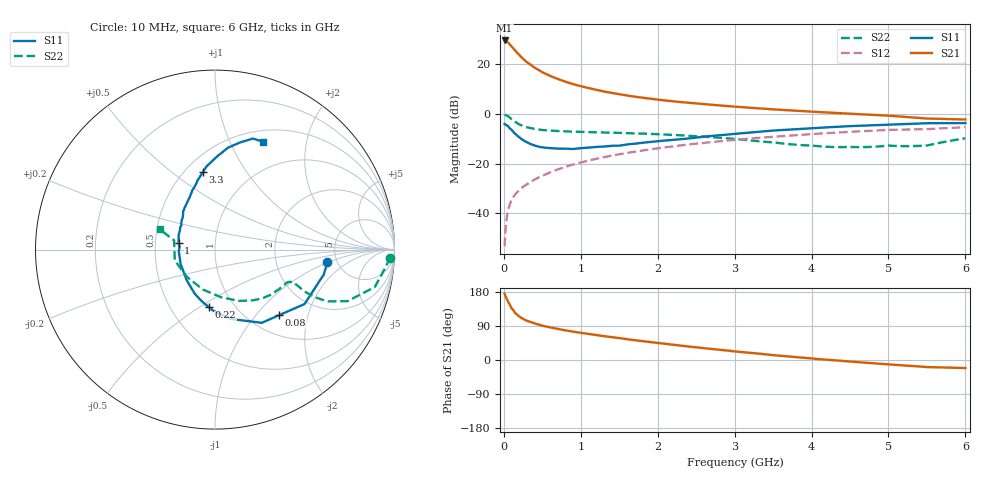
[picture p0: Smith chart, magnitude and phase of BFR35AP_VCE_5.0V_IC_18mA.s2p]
! Infineon Technologies  Discrete & RF Semiconductors
! BFR35AP
! VCE =  5.0 V,  IC =  18 mA
! Common Emitter S-Parameters:  Nov 2015
# GHz  S  MA  R  50
!  f  S11  S21  S12  S22
! GHz  MAG  ANG  MAG  ANG  MAG  ANG  MAG  ANG
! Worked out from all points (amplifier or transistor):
!   210 points, 10 MHz to 6 GHz, reference 50 ohm
!   highest |S21| = 29.6 dB at 10 MHz (marker M1)
!   |S21| within 3 dB of that: start of sweep to 118.5 MHz
!   unconditionally stable (mu >= 1): 444.9 MHz to 2.926 GHz
!   at 185 MHz: K = 0.70, MSG = 27.7 dB, |S12| = -31.1 dB
!   at 1.52 GHz: K = 1.10, MAG = 10.0 dB, |S12| = -16.1 dB
!   at 6 GHz: K = 0.93, MSG = 1.5 dB, |S12| = -5.3 dB
!   S11 on the Smith chart (normalised r, x): 10 MHz: 4.16, -0.99; 80 MHz: 1.35, -1.33; 220 MHz: 0.76, -0.55; 1 GHz: 0.66, +0.05; 3.3 GHz: 0.61, +0.65; 6 GHz: 0.63, +1.34
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0.01  0.6304 -6.5  30.22 174.5  0.0022 85.6  0.9769 -2.6
0.02  0.6217 -12.9  29.92 169.3  0.0044 83.9  0.9576 -5.6
0.05  0.5839 -31.3  28.12 155.3  0.0108 77.2  0.9143 -13.2
0.08  0.5106 -45.8  24.83 145.1  0.0156 72.0  0.8386 -17.8
0.1  0.4841 -57.4  23.17 136.8  0.0188 70.0  0.7915 -21.3
0.15  0.3972 -76.9  18.72 123.3  0.0245 65.6  0.6903 -24.7
0.2  0.3408 -91.6  15.39 114.7  0.0293 65.2  0.6193 -25.5
0.22  0.3222 -96.1  14.37 112.4  0.0313 65.6  0.6001 -25.4
0.26  0.2923 -105.9  12.51 107.4  0.0353 66.3  0.5651 -25.2
0.3  0.2708 -114.6  11.06 103.4  0.0388 67.2  0.5401 -24.8
0.4  0.2328 -132.4  8.572 96.4  0.0481 68.3  0.5003 -23.5
0.5  0.2138 -146.1  6.946 90.5  0.0571 69.4  0.477 -22.8
0.7  0.2019 -167.4  5.082 81.9  0.0768 69.9  0.4558 -23.2
1  0.2061 169.5  3.631 71.6  0.106 68.6  0.4385 -25.3
1.02  0.2069 168.2  3.57 71.1  0.108 68.5  0.4376 -25.6
1.4  0.2305 147.3  2.664 60.3  0.1453 65.9  0.4221 -30.7
2.02  0.2869 126.4  1.935 44.6  0.2064 59.9  0.3919 -41.2
3.1  0.4116 102.1  1.374 20.9  0.3115 47.5  0.305 -67.6
3.3  0.4378 98.8  1.305 17.1  0.3301 44.9  0.2846 -74.4
4.1  0.5298 87.4  1.097 2.3  0.4039 34.9  0.225 -112.3
5.1  0.6191 75.9  0.905 -13.0  0.4827 20.8  0.2279 -170.4
6  0.6584 65.9  0.777 -21.3  0.5442 10.3  0.3266 159.9
